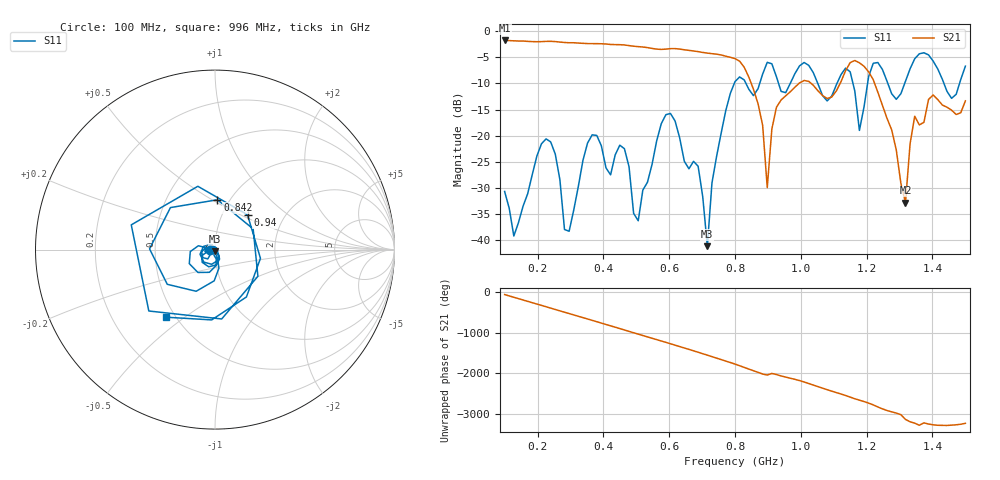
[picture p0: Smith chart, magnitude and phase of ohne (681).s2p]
! NanoVNA-App
! Date: 2025-09-25 14:26:06
! Start: 100MHz Stop: 1,5GHz Points: 101
! S-Parameter data: F S11 S21 S12 S22
# Hz S RI R 50
!  Frequency  S11_Real  S11_Imag  S21_Real  S21_Imag  S12_Real  S12_Imag  S22_Real  S22_Imag
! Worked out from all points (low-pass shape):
!   101 points, 100 MHz to 1.5 GHz, reference 50 ohm
!   highest |S21| = -1.79 dB at 100 MHz (marker M1); lowest = -32.8 dB at 1.318 GHz (marker M2)
!   |S21| within 3 dB of the highest: start of sweep to 771.7 MHz
!   lowest |S11| = -41.1 dB at 716 MHz (marker M3), VSWR 1.02, Z = 49.8 - j0.843 ohm
!   |S11| at or under -10 dB: start of sweep to 797.9 MHz; 833.2 MHz to 875.1 MHz (41.85 MHz wide, 4.9 % of centre); 1.052 GHz to 1.11 GHz (58.35 MHz wide, 5.4 % of centre) (the widest 3 of 7)
!   S12 and S22 are empty: the file has one direction only
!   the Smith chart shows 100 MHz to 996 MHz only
!   S11 on the Smith chart (normalised r, x): 100 MHz: 0.94, -0.01; 842 MHz: 0.88, +0.53; 940 MHz: 1.31, +0.55; 996 MHz: 0.45, -0.43
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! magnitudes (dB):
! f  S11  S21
! 100 MHz  -30.6  -1.8
! 128 MHz  -39.2  -1.9
! 226 MHz  -20.6  -2.0
! 296 MHz  -38.2  -2.2
! 338 MHz  -24.7  -2.3
! 464 MHz  -22.5  -2.7
! 506 MHz  -36.2  -3.0
! 576 MHz  -17.7  -3.5
! 688 MHz  -25.8  -3.9
! 716 MHz  -41.1  -4.2
! 800 MHz  -9.7  -5.3
! 842 MHz  -11.1  -8.8
! 898 MHz  -6.0  -29.9
! 940 MHz  -11.5  -13.2
! 996 MHz  -6.7  -9.9
! 1.038 GHz  -8.0  -10.4
! 1.178 GHz  -19.0  -6.1
! 1.22 GHz  -6.2  -9.3
! 1.276 GHz  -12.0  -18.9
! 1.318 GHz  -9.6  -32.8
! 1.346 GHz  -5.3  -16.3
! 1.5 GHz  -6.7  -13.3
